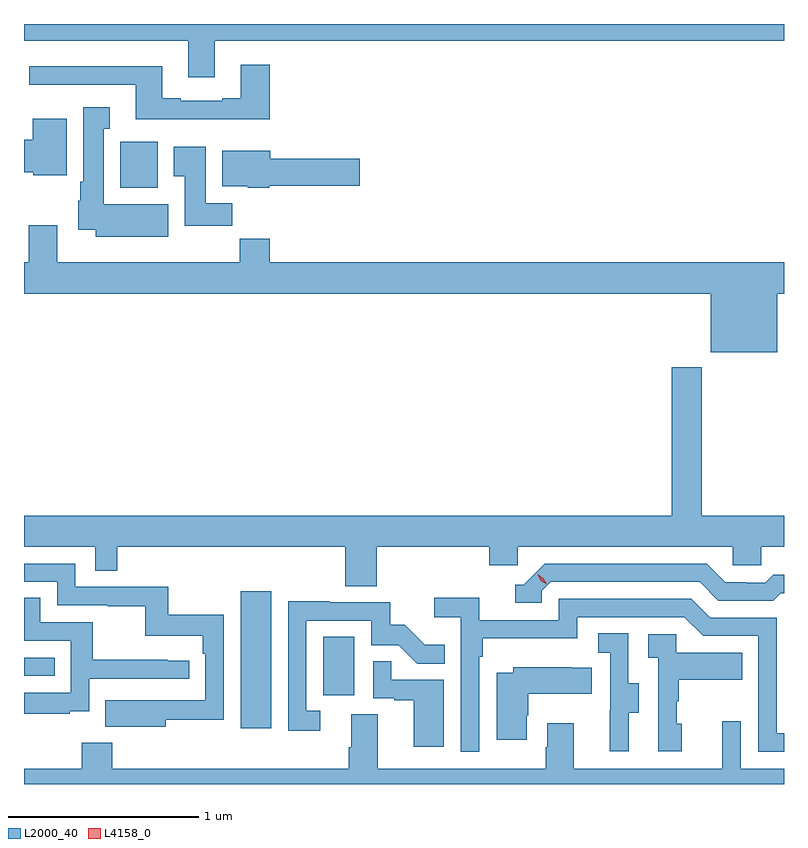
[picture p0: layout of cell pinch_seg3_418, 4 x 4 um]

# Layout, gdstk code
import gdstk
lib = gdstk.Library(unit=1e-6, precision=1e-09)
def R(c, l, rs):  # rectangles x0, y0, x1, y1
    for r in rs: c.add(gdstk.rectangle(r[:2], r[2:], *l))
def P(c, l, *ps):  # polygons
    for p in ps: c.add(gdstk.Polygon(p, *l))
L2000_40 = (2000, 40)
L4158_0 = (4158, 0)

pinch_seg3_418 = lib.new_cell('pinch_seg3_418')
R(pinch_seg3_418, L2000_40, [(904.145,694.632,904.306,695.353), (904.58,694.806,904.744,695.113), (903.005,694.908,903.167,695.004), (903.512,697.478,903.709,697.72)])
P(pinch_seg3_418, L2000_40, [(904.009,698.252),(907.005,698.252),(907.005,698.339),(903.005,698.339),(903.005,698.252),(903.869,698.252),(903.869,698.058),(904.009,698.058)],
  [(904.298,698.125),(904.145,698.125),(904.145,697.948),(904.049,697.948),(904.049,697.935),(903.829,697.935),(903.829,697.948),(903.733,697.948),(903.733,698.116),(903.033,698.116),(903.033,698.019),(903.593,698.019),(903.593,697.838),(904.298,697.838)],
  [(903.763,697.39),(903.424,697.39),(903.424,697.787),(903.457,697.787),(903.457,697.9),(903.317,697.9),(903.317,697.51),(903.302,697.51),(903.302,697.41),(903.29,697.41),(903.29,697.256),(903.383,697.256),(903.383,697.22),(903.763,697.22)],
  [(903.229,697.84),(903.05,697.84),(903.05,697.73),(903.005,697.73),(903.005,697.558),(903.054,697.558),(903.054,697.544),(903.229,697.544)],
  [(904.1,697.396),(903.961,697.396),(903.961,697.693),(903.794,697.693),(903.794,697.537),(903.851,697.537),(903.851,697.278),(904.1,697.278)],
  [(904.296,697.489),(904.771,697.489),(904.771,697.631),(904.3,697.631),(904.3,697.672),(904.049,697.672),(904.049,697.484),(904.182,697.484),(904.182,697.478),(904.296,697.478)],
  [(906.97,696.92),(907.005,696.92),(907.005,697.084),(904.298,697.084),(904.298,697.208),(904.141,697.208),(904.141,697.084),(903.181,697.084),(903.181,697.279),(903.029,697.279),(903.029,697.084),(903.005,697.084),(903.005,696.92),(906.62,696.92),(906.62,696.611),(906.97,696.611)],
  [(904.862,695.588),(905.453,695.588),(905.453,695.49),(905.604,695.49),(905.604,695.588),(906.735,695.588),(906.735,695.49),(906.885,695.49),(906.885,695.588),(907.005,695.588),(907.005,695.752),(906.573,695.752),(906.573,696.532),(906.413,696.532),(906.413,695.752),(903.005,695.752),(903.005,695.588),(903.381,695.588),(903.381,695.461),(903.497,695.461),(903.497,695.588),(904.697,695.588),(904.697,695.38),(904.862,695.38)],
  [(903.751,694.678),(904.056,694.678),(904.056,695.23),(903.763,695.23),(903.763,695.376),(903.276,695.376),(903.276,695.499),(903.005,695.499),(903.005,695.403),(903.18,695.403),(903.18,695.28),(903.445,695.28),(903.445,695.275),(903.642,695.275),(903.642,695.12),(903.947,695.12),(903.947,695.024),(903.96,695.024),(903.96,694.779),(903.647,694.779),(903.647,694.78),(903.433,694.78),(903.433,694.64),(903.751,694.64)],
  [(905.73,695.355),(905.778,695.403),(906.561,695.403),(906.66,695.304),(906.949,695.304),(906.988,695.343),(907.005,695.343),(907.005,695.44),(906.949,695.44),(906.907,695.397),(906.804,695.397),(906.804,695.4),(906.697,695.4),(906.598,695.499),(905.745,695.499),(905.634,695.388),(905.591,695.388),(905.591,695.292),(905.73,695.292)],
  [(903.245,694.721),(903.348,694.721),(903.348,694.893),(903.874,694.893),(903.874,694.989),(903.761,694.989),(903.761,694.994),(903.368,694.994),(903.368,695.19),(903.091,695.19),(903.091,695.318),(903.005,695.318),(903.005,695.094),(903.252,695.094),(903.252,694.818),(903.005,694.818),(903.005,694.71),(903.245,694.71)],
  [(905.4,695.009),(905.42,695.009),(905.42,695.105),(905.916,695.105),(905.916,695.217),(906.48,695.217),(906.579,695.118),(906.87,695.118),(906.87,694.509),(907.005,694.509),(907.005,694.605),(906.966,694.605),(906.966,695.214),(906.616,695.214),(906.517,695.313),(905.82,695.313),(905.82,695.202),(905.402,695.202),(905.402,695.318),(905.163,695.318),(905.163,695.216),(905.304,695.216),(905.304,694.509),(905.4,694.509)],
  [(904.564,694.725),(904.491,694.725),(904.491,695.199),(904.833,695.199),(904.833,695.07),(904.977,695.07),(905.075,694.972),(905.219,694.972),(905.219,695.071),(905.115,695.071),(905.008,695.178),(904.932,695.178),(904.932,695.295),(904.613,695.295),(904.613,695.3),(904.395,695.3),(904.395,694.62),(904.564,694.62)],
  [(906.187,694.714),(906.241,694.714),(906.241,694.869),(906.186,694.869),(906.186,695.132),(906.027,695.132),(906.027,695.029),(906.09,695.029),(906.09,694.725),(906.089,694.725),(906.089,694.512),(906.187,694.512)],
  [(906.466,694.656),(906.441,694.656),(906.441,694.775),(906.451,694.775),(906.451,694.889),(906.785,694.889),(906.785,695.029),(906.438,695.029),(906.438,695.127),(906.291,695.127),(906.291,695.003),(906.342,695.003),(906.342,694.512),(906.466,694.512)],
  [(905.215,694.887),(904.937,694.887),(904.937,694.985),(904.842,694.985),(904.842,694.791),(904.953,694.791),(904.953,694.779),(905.057,694.779),(905.057,694.536),(905.215,694.536)],
  [(905.65,694.701),(905.658,694.701),(905.658,694.814),(905.993,694.814),(905.993,694.951),(905.885,694.951),(905.885,694.954),(905.579,694.954),(905.579,694.924),(905.492,694.924),(905.492,694.572),(905.65,694.572)],
  [(907.005,694.42),(906.777,694.42),(906.777,694.669),(906.68,694.669),(906.68,694.42),(905.899,694.42),(905.899,694.66),(905.759,694.66),(905.759,694.532),(905.752,694.532),(905.752,694.42),(904.867,694.42),(904.867,694.706),(904.727,694.706),(904.727,694.532),(904.715,694.532),(904.715,694.42),(903.47,694.42),(903.47,694.555),(903.31,694.555),(903.31,694.42),(903.005,694.42),(903.005,694.339),(907.005,694.339)])
P(pinch_seg3_418, L4158_0, [(905.755,695.39),(905.724,695.409),(905.708,695.442),(905.708,695.442),(905.708,695.442),(905.739,695.423),(905.755,695.39),(905.755,695.39)])

lib.write_gds('pinch_seg3_418.gds')
